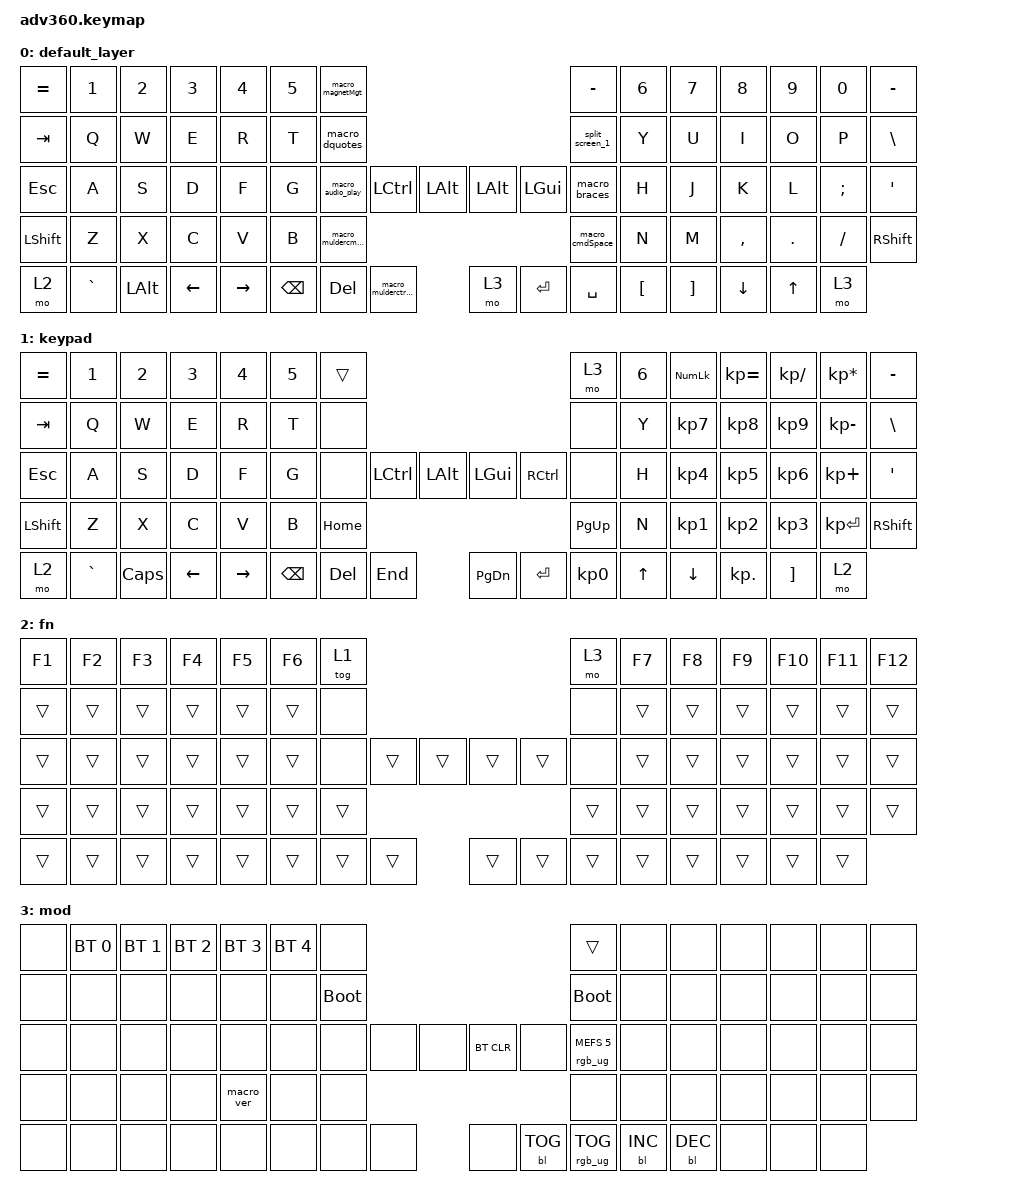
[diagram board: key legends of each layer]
#include <behaviors.dtsi>
#include <dt-bindings/zmk/keys.h>
#include <dt-bindings/zmk/bt.h>
#include <dt-bindings/zmk/rgb.h>
#include <dt-bindings/zmk/backlight.h>

/ {
    behaviors {
      #include "macros.dtsi"
      #include "version.dtsi"
      #ifndef VERSION_MACRO
      macro_ver: macro_ver {
        compatible = "zmk,behavior-macro";
        label = "macro_version";
        #binding-cells = <0>;
        bindings = <&kp RET>;
      };
      #endif

      hm: homerow_mods {
          compatible = "zmk,behavior-hold-tap";
          label = "HOMEROW_MODS";
          #binding-cells = <2>;
          tapping-term-ms = <200>;
          quick_tap_ms = <175>;
          flavor = "tap-preferred";
          bindings = <&kp>, <&kp>;
      };

      macro_magnetMgt: macro_magnetMgt {
        compatible = "zmk,behavior-mod-morph";
        #binding-cells = <0>;
        bindings = <&ctrl_opt_left>, <&ctrl_opt_right>;
        mods = <(MOD_LSFT|MOD_RSFT)>;
      };

      macro_audio: macro_audio {
        compatible = "zmk,behavior-mod-morph";
        label = "macro_audio";
        #binding-cells = <0>;
        bindings = <&kp C_VOL_UP>, <&kp C_VOL_DN>;
        mods = <(MOD_LSFT|MOD_RSFT)>;
      };

      macro_audio_play: macro_audio_play {
        compatible = "zmk,behavior-mod-morph";
        label = "macro_audio_play";
        #binding-cells = <0>;
        bindings = <&macro_audio>, <&kp C_PLAY_PAUSE>;
        mods = <(MOD_LCTL|MOD_RCTL)>;
      };
    };

  keymap {
    compatible = "zmk,keymap";

    default_layer {
      bindings = <
        &kp EQUAL &kp N1    &kp N2   &kp N3   &kp N4     &kp N5 &macro_magnetMgt                                                           &kp MINUS &kp N6 &kp N7 &kp N8    &kp N9   &kp N0   &kp MINUS
        &kp TAB   &kp Q     &kp W    &kp E    &kp R      &kp T  &macro_dquotes                                                            &split_screen_1 &kp Y  &kp U  &kp I     &kp O    &kp P    &kp BSLH
        &kp ESC   &kp A     &kp S    &kp D    &kp F      &kp G  &macro_audio_play           &kp LCTRL &kp LALT &kp LALT  &kp LGUI           &macro_braces &kp H  &kp J  &kp K     &kp L    &kp SEMI &kp SQT
        &kp LSHFT &kp Z     &kp X    &kp C    &kp V      &kp B                            &macro_muldercmdtab &macro_cmdSpace                           &kp N  &kp M  &kp COMMA &kp DOT  &kp FSLH &kp RSHFT
        &mo 2     &kp GRAVE &kp LALT &kp LEFT &kp RIGHT                &kp BSPC &kp DEL   &macro_mulderctrltab  &mo 3  &kp ENTER &kp SPACE              &kp LBKT &kp RBKT  &kp DOWN &kp UP &mo 3
      >;
    };
    keypad {
      bindings = <
        &kp EQUAL &kp N1    &kp N2   &kp N3   &kp N4     &kp N5 &trans                                                           &mo 3 &kp N6 &kp KP_NUM &kp KP_EQUAL &kp KP_DIVIDE &kp KP_MULTIPLY &kp MINUS
        &kp TAB   &kp Q     &kp W    &kp E    &kp R      &kp T  &none                                                            &none &kp Y  &kp KP_N7  &kp KP_N8    &kp KP_N9     &kp KP_MINUS    &kp BSLH
        &kp ESC   &kp A     &kp S    &kp D    &kp F      &kp G  &none           &kp LCTRL &kp LALT &kp LGUI  &kp RCTRL           &none &kp H  &kp KP_N4  &kp KP_N5    &kp KP_N6     &kp KP_PLUS     &kp SQT
        &kp LSHFT &kp Z     &kp X    &kp C    &kp V      &kp B                            &kp HOME &kp PG_UP                           &kp N  &kp KP_N1  &kp KP_N2    &kp KP_N3     &kp KP_ENTER    &kp RSHFT
        &mo 2     &kp GRAVE &kp CAPS &kp LEFT &kp RIGHT                &kp BSPC &kp DEL   &kp END  &kp PG_DN &kp ENTER &kp KP_N0              &kp UP     &kp DOWN     &kp KP_DOT    &kp RBKT        &mo 2
      >;
    };
    fn {
      bindings = <
        &kp F1 &kp F2 &kp F3 &kp F4 &kp F5 &kp F6 &tog 1                                           &mo 3 &kp F7 &kp F8 &kp F9 &kp F10 &kp F11 &kp F12
        &trans &trans &trans &trans &trans &trans  &none                                           &none &trans &trans &trans &trans  &trans  &trans
        &trans &trans &trans &trans &trans &trans  &none        &trans &trans &trans &trans        &none &trans &trans &trans &trans  &trans  &trans
        &trans &trans &trans &trans &trans &trans                      &trans &trans                     &trans &trans &trans &trans  &trans  &trans
        &trans &trans &trans &trans &trans               &trans &trans &trans &trans &trans &trans              &trans &trans &trans  &trans  &trans
      >;
    };
    mod {
      bindings = <
        &none &bt BT_SEL 0 &bt BT_SEL 1 &bt BT_SEL 2 &bt BT_SEL 3 &bt BT_SEL 4 &none                                                                     &trans                 &none        &none        &none        &none &none &none
        &none &none        &none        &none        &none        &none        &bootloader                                                               &bootloader            &none        &none        &none        &none &none &none
        &none &none        &none        &none        &none        &none        &none                   &none &none &bt BT_CLR &none                      &rgb_ug RGB_MEFS_CMD 5 &none        &none        &none        &none &none &none
        &none &none        &none        &none        &macro_ver   &none                                      &none &none                                                        &none        &none        &none        &none &none &none
        &none &none        &none        &none        &none                                       &none &none &none &none      &bl BL_TOG &rgb_ug RGB_TOG                                     &bl BL_INC   &bl BL_DEC   &none &none &none
      >;
    };
  };
};
